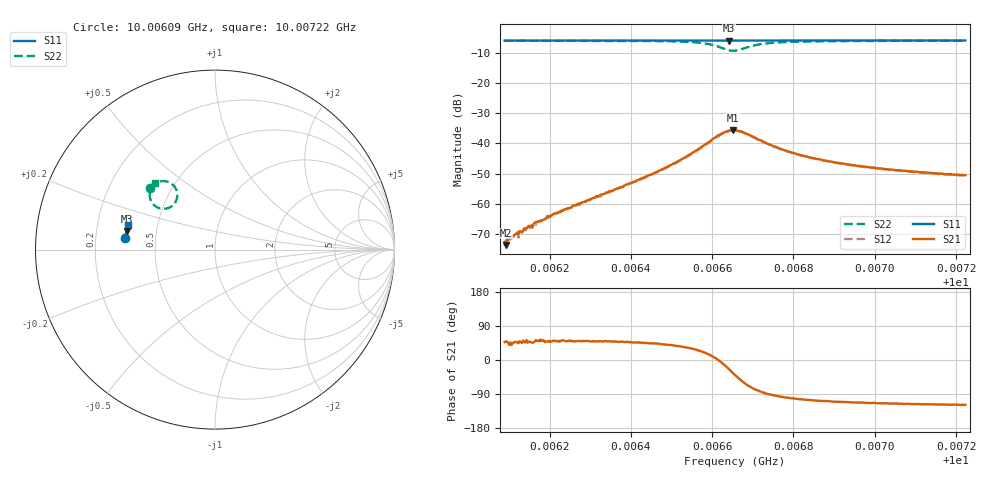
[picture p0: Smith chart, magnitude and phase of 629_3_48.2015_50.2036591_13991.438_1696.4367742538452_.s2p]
#  HZ  S  RI  R  50.00
! Rohde & Schwarz Vector Network Analyzer
! Rohde-Schwarz,ZNB20-2Port,1311601062101988,3.16
! Created: UTC 3/20/2024, 12:04:15 PM
! freq[Hz]  re:S11  im:S11  re:S21  im:S21  re:S12  im:S12  re:S22  im:S22
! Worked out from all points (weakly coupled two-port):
!   401 points, 10.00609 GHz to 10.00722 GHz, reference 50 ohm
!   highest |S21| = -35.63 dB at 10.00665 GHz (marker M1); lowest = -73.7 dB at 10.00609 GHz (marker M2)
!   lowest |S11| = -6.0 dB at 10.00664 GHz (marker M3), VSWR 3.02, Z = 16.7 + j4.53 ohm
!   |S11| at or under -10 dB: nowhere
!   |S22| runs from -9.3 to -6.0 dB; largest |S21 - S12| = 0.0012
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1.0006089e10  -0.4989 0.066  0.000157 0.000169  0.000151 0.000129  -0.3635 0.3417
1.0006092e10  -0.4988 0.0662  0.000137 0.000155  0.000169 0.000175  -0.363 0.342
1.0006115e10  -0.4986 0.0679  0.000207 0.00023  0.000199 0.000236  -0.3616 0.3436
1.0006129e10  -0.4986 0.0688  0.000232 0.000252  0.000214 0.000271  -0.3609 0.3445
1.0006143e10  -0.4985 0.0696  0.000234 0.000305  0.000222 0.000317  -0.3599 0.3457
1.0006157e10  -0.4983 0.0706  0.000283 0.000286  0.000247 0.000338  -0.3589 0.3465
1.0006166e10  -0.4983 0.0711  0.000303 0.000395  0.000257 0.000365  -0.3584 0.3473
1.0006279e10  -0.4974 0.0785  0.00068 0.000788  0.000621 0.000821  -0.3492 0.3559
1.0006469e10  -0.4956 0.091  0.00257 0.00239  0.00241 0.00246  -0.3192 0.3752
1.0006529e10  -0.4948 0.095  0.00467 0.00318  0.00433 0.00332  -0.2957 0.3814
1.0006585e10  -0.4937 0.0986  0.00937 0.00304  0.00894 0.00341  -0.2494 0.3716
1.0006619e10  -0.4928 0.1006  0.014 -0.000966  0.0137 4.86e-05  -0.2131 0.3272
1.0006642e10  -0.4922 0.1013  0.0148 -0.00684  0.0148 -0.00573  -0.2174 0.2705
1.0006651e10  -0.4922 0.1018  0.0137 -0.00925  0.014 -0.00812  -0.2313 0.2507
1.0006656e10  -0.4923 0.1018  0.0127 -0.0105  0.0131 -0.00949  -0.2434 0.2403
1.0006676e10  -0.4925 0.1028  0.00806 -0.013  0.00874 -0.0123  -0.2919 0.2271
1.0006719e10  -0.4927 0.1055  0.00141 -0.0112  0.00182 -0.0109  -0.3509 0.2613
1.0006772e10  -0.4924 0.1092  -0.00105 -0.00785  -0.000622 -0.00779  -0.3638 0.3003
1.0006846e10  -0.4915 0.1143  -0.00158 -0.00552  -0.00131 -0.00551  -0.3606 0.3275
1.0006942e10  -0.4903 0.1203  -0.00164 -0.00406  -0.00143 -0.00408  -0.3531 0.3454
1.0007036e10  -0.4891 0.1263  -0.00155 -0.00335  -0.00134 -0.00337  -0.3461 0.3563
1.0007223e10  -0.4862 0.1382  -0.00143 -0.00262  -0.00125 -0.00263  -0.3343 0.3712
